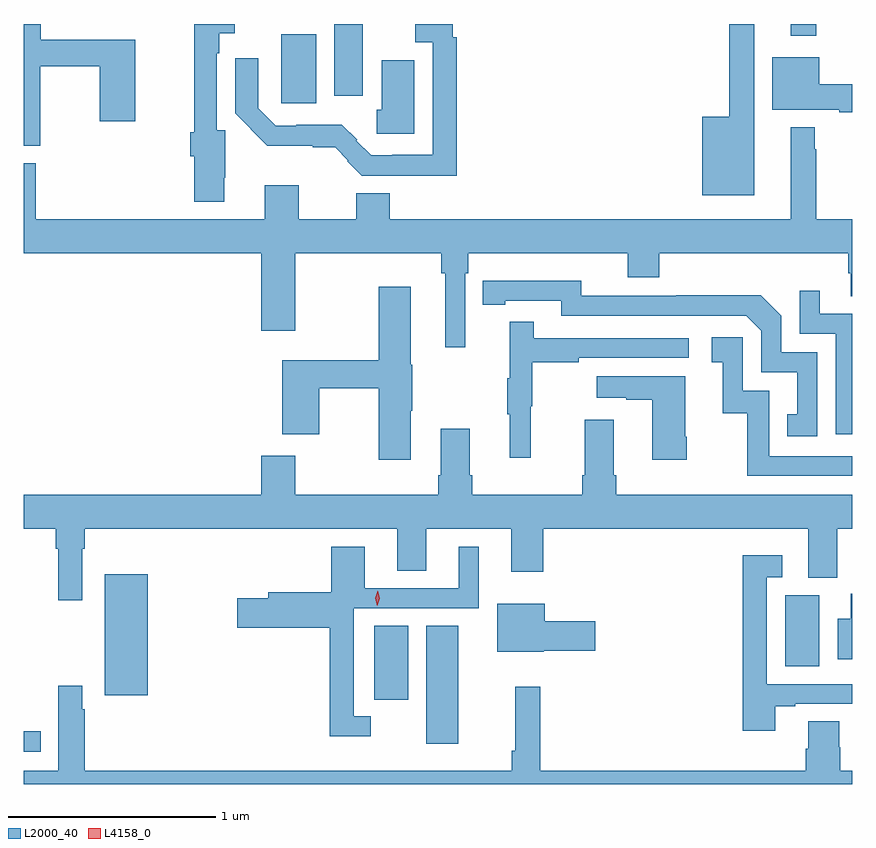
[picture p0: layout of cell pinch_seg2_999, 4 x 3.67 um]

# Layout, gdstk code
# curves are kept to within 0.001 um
import gdstk
lib = gdstk.Library(unit=1e-6, precision=1e-09)
def R(c, l, rs):  # rectangles x0, y0, x1, y1
    for r in rs: c.add(gdstk.rectangle(r[:2], r[2:], *l))
def P(c, l, *ps):  # polygons
    for p in ps: c.add(gdstk.Polygon(p, *l))
L2000_40 = (2000, 40)
L4158_0 = (4158, 0)

pinch_seg2_999 = lib.new_cell('pinch_seg2_999')
R(pinch_seg2_999, L2000_40, [(367.658,583.955,367.738,584.056), (369.602,583.995,369.757,584.564), (369.35,584.208,369.514,584.564), (368.048,584.228,368.257,584.812), (371.336,584.368,371.5,584.712), (368.9,587.088,369.07,587.422), (369.158,587.124,369.295,587.471), (371.363,587.415,371.485,587.471)])
P(pinch_seg2_999, L2000_40, [(371.185,587.471),(371.064,587.471),(371.064,587.023),(370.934,587.023),(370.934,586.643),(371.185,586.643)],
  [(369.749,587.408),(369.729,587.408),(369.729,587.471),(369.549,587.471),(369.549,587.384),(369.633,587.384),(369.633,586.84),(369.436,586.84),(369.436,586.836),(369.336,586.836),(369.264,586.908),(369.267,586.911),(369.193,586.985),(368.974,586.985),(368.974,586.98),(368.874,586.98),(368.79,587.064),(368.79,587.305),(368.678,587.305),(368.678,587.04),(368.833,586.883),(369.053,586.883),(369.053,586.875),(369.161,586.875),(369.223,586.813),(369.219,586.809),(369.289,586.739),(369.749,586.739)],
  [(368.626,586.728),(368.631,586.728),(368.631,586.958),(368.589,586.958),(368.589,587.33),(368.601,587.33),(368.601,587.427),(368.677,587.427),(368.677,587.471),(368.481,587.471),(368.481,586.947),(368.462,586.947),(368.462,586.833),(368.48,586.833),(368.48,586.613),(368.626,586.613)],
  [(367.736,587.266),(368.023,587.266),(368.023,587.001),(368.196,587.001),(368.196,587.395),(367.739,587.395),(367.739,587.471),(367.658,587.471),(367.658,586.884),(367.736,586.884)],
  [(371.658,587.18),(371.5,587.18),(371.5,587.311),(371.273,587.311),(371.273,587.057),(371.596,587.057),(371.596,587.044),(371.658,587.044)],
  [(369.544,587.296),(369.386,587.296),(369.386,587.058),(369.363,587.058),(369.363,586.941),(369.544,586.941)],
  [(369.789,586.268),(369.803,586.268),(369.803,586.364),(370.574,586.364),(370.574,586.247),(370.727,586.247),(370.727,586.364),(371.639,586.364),(371.639,586.266),(371.651,586.266),(371.651,586.156),(371.658,586.156),(371.658,586.528),(371.485,586.528),(371.485,586.865),(371.478,586.865),(371.478,586.972),(371.363,586.972),(371.363,586.528),(369.424,586.528),(369.424,586.654),(369.263,586.654),(369.263,586.528),(368.986,586.528),(368.986,586.693),(368.822,586.693),(368.822,586.528),(367.714,586.528),(367.714,586.799),(367.658,586.799),(367.658,586.364),(368.804,586.364),(368.804,585.99),(368.968,585.99),(368.968,586.364),(369.673,586.364),(369.673,586.268),(369.692,586.268),(369.692,585.909),(369.789,585.909)],
  [(371.49,585.885),(371.316,585.885),(371.316,586.062),(371.218,586.16),(370.81,586.16),(370.81,586.158),(370.35,586.158),(370.35,586.231),(369.874,586.23),(369.874,586.114),(369.982,586.114),(369.982,586.134),(370.254,586.134),(370.254,586.062),(371.148,586.062),(371.22,585.99),(371.22,585.789),(371.393,585.789),(371.393,585.585),(371.344,585.585),(371.344,585.48),(371.49,585.48)],
  [(369.526,585.604),(369.534,585.604),(369.534,585.825),(369.526,585.825),(369.526,586.201),(369.373,586.201),(369.373,585.848),(368.906,585.848),(368.906,585.489),(369.084,585.489),(369.084,585.712),(369.373,585.712),(369.373,585.366),(369.526,585.366)],
  [(371.658,586.071),(371.503,586.071),(371.503,586.183),(371.406,586.183),(371.406,585.975),(371.58,585.975),(371.58,585.489),(371.658,585.489)],
  [(370.106,585.624),(370.114,585.624),(370.114,585.838),(370.337,585.838),(370.337,585.858),(370.87,585.858),(370.87,585.954),(370.121,585.954),(370.121,586.033),(370.004,586.033),(370.004,585.761),(369.993,585.761),(369.993,585.587),(370.004,585.587),(370.004,585.375),(370.106,585.375)],
  [(371.658,585.384),(371.259,585.384),(371.259,585.699),(371.13,585.699),(371.13,585.958),(370.98,585.958),(370.98,585.837),(371.033,585.837),(371.033,585.591),(371.151,585.591),(371.151,585.288),(371.658,585.288)],
  [(370.86,585.478),(370.852,585.478),(370.852,585.769),(370.425,585.769),(370.425,585.665),(370.568,585.665),(370.568,585.655),(370.694,585.655),(370.694,585.366),(370.86,585.366)],
  [(367.658,585.032),(367.811,585.032),(367.811,584.936),(367.823,584.936),(367.823,584.688),(367.939,584.688),(367.939,584.936),(367.952,584.936),(367.952,585.032),(369.461,585.032),(369.461,584.83),(369.601,584.83),(369.601,585.032),(370.013,585.032),(370.013,584.826),(370.166,584.826),(370.166,585.032),(371.447,585.032),(371.447,584.797),(371.587,584.797),(371.587,585.032),(371.658,585.032),(371.658,585.196),(370.52,585.196),(370.52,585.292),(370.507,585.292),(370.507,585.559),(370.367,585.559),(370.367,585.292),(370.355,585.292),(370.355,585.196),(369.824,585.196),(369.824,585.292),(369.811,585.292),(369.811,585.517),(369.671,585.517),(369.671,585.292),(369.659,585.292),(369.659,585.196),(368.968,585.196),(368.968,585.385),(368.804,585.385),(368.804,585.196),(367.658,585.196)],
  [(369.334,584.127),(369.252,584.127),(369.252,584.649),(369.856,584.649),(369.856,584.947),(369.758,584.947),(369.758,584.745),(369.304,584.745),(369.304,584.947),(369.143,584.947),(369.143,584.727),(368.837,584.727),(368.837,584.697),(368.688,584.697),(368.688,584.555),(369.136,584.555),(369.136,584.03),(369.334,584.03)],
  [(371.287,584.175),(371.383,584.175),(371.383,584.187),(371.658,584.187),(371.658,584.283),(371.247,584.283),(371.247,584.799),(371.32,584.799),(371.32,584.905),(371.131,584.905),(371.131,584.058),(371.287,584.058)],
  [(371.658,584.718),(371.651,584.718),(371.651,584.599),(371.588,584.599),(371.588,584.403),(371.658,584.403)],
  [(370.17,584.444),(370.417,584.444),(370.417,584.586),(370.174,584.586),(370.174,584.671),(369.944,584.671),(369.944,584.438),(370.17,584.438)],
  [(371.658,583.864),(371.6,583.864),(371.6,583.977),(371.595,583.977),(371.595,584.102),(371.447,584.102),(371.447,583.97),(371.435,583.97),(371.435,583.864),(370.151,583.864),(370.151,584.269),(370.03,584.269),(370.03,583.96),(370.015,583.96),(370.015,583.864),(367.952,583.864),(367.952,584.162),(367.939,584.162),(367.939,584.275),(367.823,584.275),(367.823,583.864),(367.658,583.864),(367.658,583.8),(371.658,583.8)])
P(pinch_seg2_999, L4158_0, [(369.364,584.662),(369.364,584.662),(369.356,584.698),(369.367,584.733),(369.368,584.733),(369.368,584.733),(369.376,584.697),(369.364,584.662)])

lib.write_gds('pinch_seg2_999.gds')
